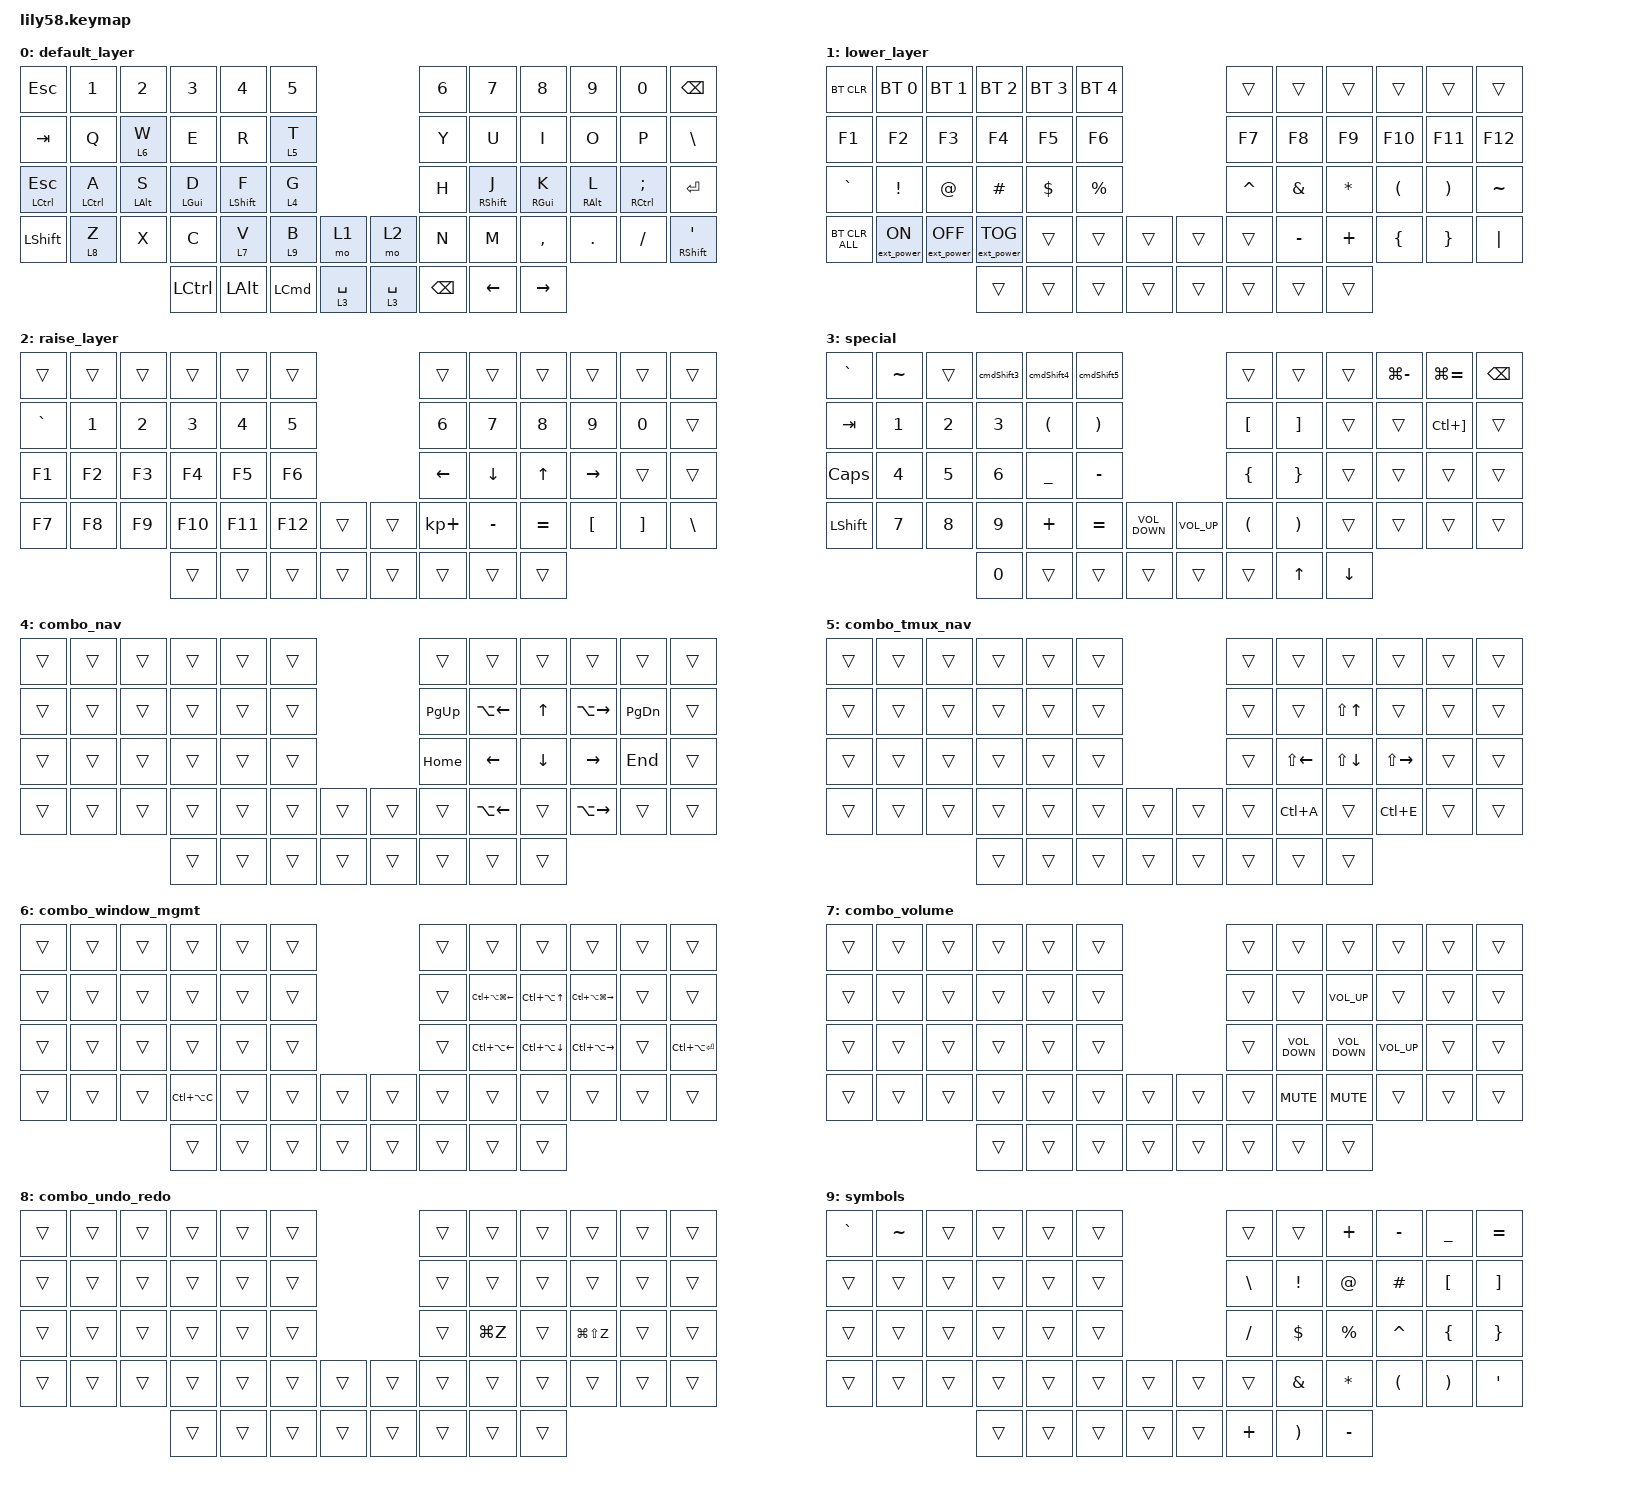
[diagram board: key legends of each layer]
/*
 * Copyright (c) 2020 The ZMK Contributors
 *
 * SPDX-License-Identifier: MIT
 */

#include <behaviors.dtsi>
#include <dt-bindings/zmk/bt.h>
#include <dt-bindings/zmk/ext_power.h>
#include <dt-bindings/zmk/keys.h>

/ {
    macros {
        cmdShift3: cmdShift3 {
            compatible = "zmk,behavior-macro";
            #binding-cells = <0>;
            bindings = <&kp LG(LS(NUMBER_3))>;
            label = "CMDSHIFT3";
        };

        cmdShift4: cmdShift4 {
            compatible = "zmk,behavior-macro";
            #binding-cells = <0>;
            bindings = <&kp LG(LS(NUMBER_4))>;
            label = "CMDSHIFT4";
        };

        cmdShift5: cmdShift5 {
            compatible = "zmk,behavior-macro";
            #binding-cells = <0>;
            bindings = <&kp LG(LS(N5))>;
            label = "CMDSHIFT5";
        };

        ctrlCloseSquareBracket: ctrlCloseSquareBracket {
            compatible = "zmk,behavior-macro";
            #binding-cells = <0>;
            bindings = <&kp LC(RIGHT_BRACKET)>;
            label = "CTRLCLOSESQUAREBRACKET";
        };
    };

    combos {
        compatible = "zmk,combos";

        enter_combo {
            bindings = <&kp ENTER>;
            key-positions = <32 33>;
            layers = <0 3 4 5 6 7 8 9>;
            require-prior-idle-ms = <0>;
        };

        backspace-combo {
            bindings = <&kp BACKSPACE>;
            key-positions = <20 21>;
            layers = <0 3 4 5 6 7 8 9>;
        };

        square-bracket-open {
            bindings = <&kp LEFT_BRACKET>;
            key-positions = <21 22>;
        };

        square-bracket-close {
            bindings = <&kp RIGHT_BRACKET>;
            key-positions = <22 23>;
        };

        curly-bracket-open {
            bindings = <&kp LEFT_BRACE>;
            key-positions = <33 34>;
        };

        curly-bracket-close {
            bindings = <&kp RIGHT_BRACE>;
            key-positions = <34 35>;
        };

        paranthesis-open {
            bindings = <&kp LEFT_PARENTHESIS>;
            key-positions = <47 48>;
        };

        paranthesis-close {
            bindings = <&kp RIGHT_PARENTHESIS>;
            key-positions = <48 49>;
        };
    };

    behaviors {
        left_positional_hold_tap: left_positional_hold_tap {
            compatible = "zmk,behavior-hold-tap";
            label = "LEFT_POSITIONAL_HOLD_TAP";
            bindings = <&kp>, <&kp>;

            #binding-cells = <2>;
            tapping-term-ms = <100>;
            quick-tap-ms = <200>;
            flavor = "tap-unless-interrupted";
            hold-trigger-key-positions = <20 31 32 33 35 19 21 6 7 6 7 8 9 10 11 18 19 20 21 22 23 30 31 32 33 34 35 44 45 46 47 48 49 55 56 57 43>;
        };

        balanced_homerow_mods: balanced_homerow_mods {
            compatible = "zmk,behavior-hold-tap";
            label = "BALANCED_HOMEROW_MODS";
            bindings = <&kp>, <&kp>;

            #binding-cells = <2>;
            flavor = "balanced";
            quick-tap-ms = <0>;
            tapping-term-ms = <200>;
        };
    };

    keymap {
        compatible = "zmk,keymap";

        default_layer {
            // ------------------------------------------------------------------------------------------------------------
            // |  ESC  |  1  |  2  |  3   |  4   |  5   |                   |  6   |  7    |  8    |  9   |   0   |   `   |
            // |  TAB  |  Q  |  W  |  E   |  R   |  T   |                   |  Y   |  U    |  I    |  O   |   P   |   -   |
            // |  CTRL |  A  |  S  |  D   |  F   |  G   |                   |  H   |  J    |  K    |  L   |   ;   |   '   |
            // | SHIFT |  Z  |  X  |  C   |  V   |  B   |   "["  |  |  "]"  |  N   |  M    |  ,    |  .   |   /   | SHIFT |
            //                     | ALT  | GUI  | LOWER|  SPACE |  | ENTER | RAISE| BSPC  | GUI   |

            bindings = <
&kp ESC           &kp N1                                 &kp N2                             &kp N3                             &kp N4                               &kp N5                                        &kp N6         &kp N7                                &kp N8                              &kp N9                              &kp N0                                          &kp BACKSPACE
&kp TAB           &kp Q                                  &lt 6 W                            &kp E                              &kp R                                &lt 5 T                                       &kp Y          &kp U                                 &kp I                               &kp O                               &kp P                                           &kp BACKSLASH
&mt LCTRL ESCAPE  &balanced_homerow_mods LEFT_CONTROL A  &balanced_homerow_mods LEFT_ALT S  &balanced_homerow_mods LEFT_GUI D  &balanced_homerow_mods LEFT_SHIFT F  &lt 4 G                                       &kp H          &balanced_homerow_mods RIGHT_SHIFT J  &balanced_homerow_mods RIGHT_GUI K  &balanced_homerow_mods RIGHT_ALT L  &balanced_homerow_mods RIGHT_CONTROL SEMICOLON  &kp ENTER
&kp LSHFT         &lt 8 Z                                &kp X                              &kp C                              &lt 7 V                              &lt 9 B           &mo 1          &mo 2        &kp N          &kp M                                 &kp COMMA                           &kp DOT                             &kp FSLH                                        &mt RIGHT_SHIFT SQT
                                                                                            &kp LEFT_CONTROL                   &kp LEFT_ALT                         &kp LEFT_COMMAND  &lt 3 SPACE    &lt 3 SPACE  &kp BACKSPACE  &kp LEFT                              &kp RIGHT
            >;
        };

        lower_layer {
            // ------------------------------------------------------------------------------------------------------------
            // | BTCLR | BT1 | BT2 |  BT3 |  BT4 |  BT5 |                   |      |       |       |      |       |       |
            // |  F1   |  F2 |  F3 |  F4  |  F5  |  F6  |                   |  F7  |  F8   |  F9   |  F10 |  F11  |  F12  |
            // |   `   |  !  |  @  |  #   |  $   |  %   |                   |  ^   |  &    |  *    |  (   |   )   |   ~   |
            // |       |     |     |      |      |      |        |  |       |      |  _    |  +    |  {   |   }   |  "|"  |
            //                     |      |      |      |        |  |       |      |       |       |

            bindings = <
&bt BT_CLR      &bt BT_SEL 0      &bt BT_SEL 1       &bt BT_SEL 2       &bt BT_SEL 3  &bt BT_SEL 4                    &trans     &trans     &trans     &trans    &trans    &trans
&kp F1          &kp F2            &kp F3             &kp F4             &kp F5        &kp F6                          &kp F7     &kp F8     &kp F9     &kp F10   &kp F11   &kp F12
&kp GRAVE       &kp EXCL          &kp AT             &kp HASH           &kp DOLLAR    &kp PRCNT                       &kp CARET  &kp AMPS   &kp ASTRK  &kp LPAR  &kp RPAR  &kp TILDE
&bt BT_CLR_ALL  &ext_power EP_ON  &ext_power EP_OFF  &ext_power EP_TOG  &trans        &trans        &trans    &trans  &trans     &kp MINUS  &kp PLUS   &kp LBRC  &kp RBRC  &kp PIPE
                                                     &trans             &trans        &trans        &trans    &trans  &trans     &trans     &trans
            >;
        };

        raise_layer {
            // ------------------------------------------------------------------------------------------------------------
            // |       |     |     |      |      |      |                   |      |       |       |      |       |       |
            // |   `   |  1  |  2  |  3   |  4   |  5   |                   |  6   |   7   |   8   |  9   |   0   |       |
            // |   F1  |  F2 |  F3 |  F4  |  F5  |  F6  |                   |      |   <-  |   v   |  ^   |  ->   |       |
            // |   F7  |  F8 |  F9 |  F10 |  F11 |  F12 |        |  |       |  +   |   -   |   =   |  [   |   ]   |   \   |
            //                     |      |      |      |        |  |       |      |       |       |

            bindings = <
&trans     &trans  &trans  &trans   &trans   &trans                     &trans          &trans          &trans        &trans     &trans    &trans
&kp GRAVE  &kp N1  &kp N2  &kp N3   &kp N4   &kp N5                     &kp N6          &kp N7          &kp N8        &kp N9     &kp N0    &trans
&kp F1     &kp F2  &kp F3  &kp F4   &kp F5   &kp F6                     &kp LEFT_ARROW  &kp DOWN_ARROW  &kp UP_ARROW  &kp RIGHT  &trans    &trans
&kp F7     &kp F8  &kp F9  &kp F10  &kp F11  &kp F12  &trans    &trans  &kp KP_PLUS     &kp MINUS       &kp EQUAL     &kp LBKT   &kp RBKT  &kp BSLH
                           &trans   &trans   &trans   &trans    &trans  &trans          &trans          &trans
            >;
        };

        special {
            bindings = <
&kp GRAVE       &kp TILDE  &trans  &cmdShift3  &cmdShift4            &cmdShift5                                                   &trans                &trans                 &trans    &kp LG(MINUS)  &kp LG(EQUAL)          &kp BSPC
&kp TAB         &kp N1     &kp N2  &kp N3      &kp LEFT_PARENTHESIS  &kp RIGHT_PARENTHESIS                                        &kp LEFT_BRACKET      &kp RIGHT_BRACKET      &trans    &trans         &kp LC(RIGHT_BRACKET)  &trans
&kp CAPSLOCK    &kp N4     &kp N5  &kp N6      &kp UNDERSCORE        &kp MINUS                                                    &kp LEFT_BRACE        &kp RIGHT_BRACE        &trans    &trans         &trans                 &trans
&kp LEFT_SHIFT  &kp N7     &kp N8  &kp N9      &kp PLUS              &kp EQUAL              &kp C_VOLUME_DOWN    &kp C_VOLUME_UP  &kp LEFT_PARENTHESIS  &kp RIGHT_PARENTHESIS  &trans    &trans         &trans                 &trans
                                   &kp N0      &trans                &trans                 &trans               &trans           &trans                &kp UP                 &kp DOWN
            >;
        };

        combo_nav {
            bindings = <
&trans  &trans  &trans  &trans  &trans  &trans                    &trans       &trans        &trans    &trans         &trans         &trans
&trans  &trans  &trans  &trans  &trans  &trans                    &kp PAGE_UP  &kp LA(LEFT)  &kp UP    &kp LA(RIGHT)  &kp PAGE_DOWN  &trans
&trans  &trans  &trans  &trans  &trans  &trans                    &kp HOME     &kp LEFT      &kp DOWN  &kp RIGHT      &kp END        &trans
&trans  &trans  &trans  &trans  &trans  &trans  &trans    &trans  &trans       &kp LA(LEFT)  &trans    &kp LA(RIGHT)  &trans         &trans
                        &trans  &trans  &trans  &trans    &trans  &trans       &trans        &trans
            >;
        };

        combo_tmux_nav {
            bindings = <
&trans  &trans  &trans  &trans  &trans  &trans                    &trans  &trans        &trans        &trans         &trans  &trans
&trans  &trans  &trans  &trans  &trans  &trans                    &trans  &trans        &kp LS(UP)    &trans         &trans  &trans
&trans  &trans  &trans  &trans  &trans  &trans                    &trans  &kp LS(LEFT)  &kp LS(DOWN)  &kp LS(RIGHT)  &trans  &trans
&trans  &trans  &trans  &trans  &trans  &trans  &trans    &trans  &trans  &kp LC(A)     &trans        &kp LC(E)      &trans  &trans
                        &trans  &trans  &trans  &trans    &trans  &trans  &trans        &trans
            >;
        };

        combo_window_mgmt {
            bindings = <
&trans  &trans  &trans  &trans         &trans  &trans                    &trans  &trans                &trans            &trans                 &trans  &trans
&trans  &trans  &trans  &trans         &trans  &trans                    &trans  &kp LC(LA(LG(LEFT)))  &kp LC(LA(UP))    &kp LC(LA(LG(RIGHT)))  &trans  &trans
&trans  &trans  &trans  &trans         &trans  &trans                    &trans  &kp LC(LA(LEFT))      &kp LC(LA(DOWN))  &kp LC(LA(RIGHT))      &trans  &kp LC(LA(ENTER))
&trans  &trans  &trans  &kp LC(LA(C))  &trans  &trans  &trans    &trans  &trans  &trans                &trans            &trans                 &trans  &trans
                        &trans         &trans  &trans  &trans    &trans  &trans  &trans                &trans
            >;
        };

        combo_volume {
            bindings = <
&trans  &trans  &trans  &trans  &trans  &trans                    &trans  &trans             &trans             &trans           &trans  &trans
&trans  &trans  &trans  &trans  &trans  &trans                    &trans  &trans             &kp C_VOLUME_UP    &trans           &trans  &trans
&trans  &trans  &trans  &trans  &trans  &trans                    &trans  &kp C_VOLUME_DOWN  &kp C_VOLUME_DOWN  &kp C_VOLUME_UP  &trans  &trans
&trans  &trans  &trans  &trans  &trans  &trans  &trans    &trans  &trans  &kp K_MUTE         &kp K_MUTE         &trans           &trans  &trans
                        &trans  &trans  &trans  &trans    &trans  &trans  &trans             &trans
            >;
        };

        combo_undo_redo {
            bindings = <
&trans  &trans  &trans  &trans  &trans  &trans                    &trans  &trans     &trans  &trans         &trans  &trans
&trans  &trans  &trans  &trans  &trans  &trans                    &trans  &trans     &trans  &trans         &trans  &trans
&trans  &trans  &trans  &trans  &trans  &trans                    &trans  &kp LG(Z)  &trans  &kp LG(LS(Z))  &trans  &trans
&trans  &trans  &trans  &trans  &trans  &trans  &trans    &trans  &trans  &trans     &trans  &trans         &trans  &trans
                        &trans  &trans  &trans  &trans    &trans  &trans  &trans     &trans
            >;
        };

        symbols {
            bindings = <
&kp GRAVE  &kp TILDE  &trans  &trans  &trans  &trans                    &trans         &trans                 &kp PLUS      &kp MINUS             &kp UNDERSCORE         &kp EQUAL
&trans     &trans     &trans  &trans  &trans  &trans                    &kp BACKSLASH  &kp EXCLAMATION        &kp AT_SIGN   &kp HASH              &kp LEFT_BRACKET       &kp RIGHT_BRACKET
&trans     &trans     &trans  &trans  &trans  &trans                    &kp SLASH      &kp DOLLAR             &kp PERCENT   &kp CARET             &kp LEFT_BRACE         &kp RIGHT_BRACE
&trans     &trans     &trans  &trans  &trans  &trans  &trans    &trans  &trans         &kp AMPERSAND          &kp ASTERISK  &kp LEFT_PARENTHESIS  &kp RIGHT_PARENTHESIS  &kp SINGLE_QUOTE
                              &trans  &trans  &trans  &trans    &trans  &kp PLUS       &kp RIGHT_PARENTHESIS  &kp MINUS
            >;
        };
    };
};
